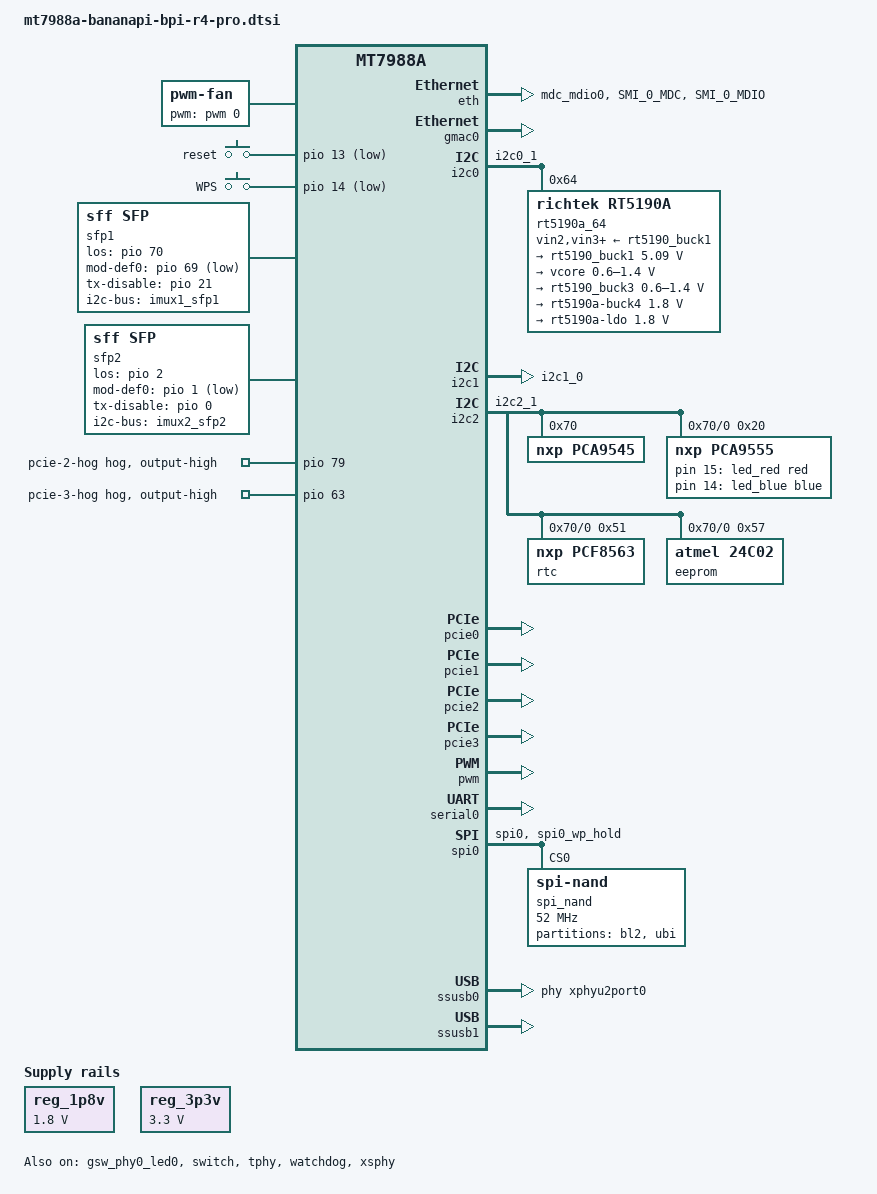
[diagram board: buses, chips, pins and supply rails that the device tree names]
// SPDX-License-Identifier: (GPL-2.0 OR MIT)
/*
 * Copyright (C) 2025 MediaTek Inc.
 * Author: Sam.Shih <sam.shih@mediatek.com>
 * Author: Frank Wunderlich <frank-w@public-files.de>
 */

/dts-v1/;

#include "mt7988a.dtsi"
#include <dt-bindings/gpio/gpio.h>
#include <dt-bindings/input/input.h>
#include <dt-bindings/leds/common.h>
#include <dt-bindings/regulator/richtek,rt5190a-regulator.h>

/ {
	aliases {
		ethernet0 = &gmac0;
		i2c0 = &i2c0;
		i2c1 = &i2c1;
		i2c2 = &i2c2;
		/* PCA9548 (0-0070) provides 4 i2c channels */
		i2c3 = &imux0;
		i2c4 = &imux1_sfp1;
		i2c5 = &imux2_sfp2;
		i2c6 = &imux3_wifi;
	};

	chosen {
		stdout-path = &serial0;
	};

	fan: pwm-fan {
		compatible = "pwm-fan";
		/* cooling level (0, 1, 2, 3) : (0% duty, 30% duty, 50% duty, 100% duty) */
		cooling-levels = <0 80 128 255>;
		pinctrl-0 = <&pwm0_pins>;
		pinctrl-names = "default";
		pwms = <&pwm 0 50000>;
		#cooling-cells = <2>;
	};

	gpio-keys {
		compatible = "gpio-keys";

		button-reset {
			label = "reset";
			gpios = <&pio 13 GPIO_ACTIVE_LOW>;
			linux,code = <KEY_RESTART>;
		};

		button-wps {
			label = "WPS";
			gpios = <&pio 14 GPIO_ACTIVE_LOW>;
			linux,code = <KEY_WPS_BUTTON>;
		};
	};

	gpio-leds {
		compatible = "gpio-leds";

		led_red: sys-led-red {
			color = <LED_COLOR_ID_RED>;
			gpios = <&pca9555 15 GPIO_ACTIVE_HIGH>;
			default-state = "on";
		};

		led_blue: sys-led-blue {
			color = <LED_COLOR_ID_BLUE>;
			gpios = <&pca9555 14 GPIO_ACTIVE_HIGH>;
			default-state = "on";
		};
	};

	reg_1p8v: regulator-dvdd1v8 {
		compatible = "regulator-fixed";
		regulator-name = "DVDD1V8_SOC";
		regulator-min-microvolt = <1800000>;
		regulator-max-microvolt = <1800000>;
		regulator-boot-on;
		regulator-always-on;
	};

	reg_3p3v: regulator-3v3vd {
		compatible = "regulator-fixed";
		regulator-name = "3V3VD";
		regulator-min-microvolt = <3300000>;
		regulator-max-microvolt = <3300000>;
		regulator-boot-on;
		regulator-always-on;
	};

	/* SFP1 cage (LAN) */
	sfp1: sfp1 {
		compatible = "sff,sfp";
		i2c-bus = <&imux1_sfp1>;
		los-gpios = <&pio 70 GPIO_ACTIVE_HIGH>;
		mod-def0-gpios = <&pio 69 GPIO_ACTIVE_LOW>;
		tx-disable-gpios = <&pio 21 GPIO_ACTIVE_HIGH>;
		maximum-power-milliwatt = <3000>;
	};

	/* SFP2 cage (WAN) */
	sfp2: sfp2 {
		compatible = "sff,sfp";
		i2c-bus = <&imux2_sfp2>;
		los-gpios = <&pio 2 GPIO_ACTIVE_HIGH>;
		mod-def0-gpios = <&pio 1 GPIO_ACTIVE_LOW>;
		tx-disable-gpios = <&pio 0 GPIO_ACTIVE_HIGH>;
		maximum-power-milliwatt = <3000>;
	};
};

&cci {
	proc-supply = <&rt5190_buck3>;
};

&cpu0 {
	proc-supply = <&rt5190_buck3>;
};

&cpu1 {
	proc-supply = <&rt5190_buck3>;
};

&cpu2 {
	proc-supply = <&rt5190_buck3>;
};

&cpu3 {
	proc-supply = <&rt5190_buck3>;
};

&cpu_thermal {
	trips {
		cpu_trip_hot: hot {
			temperature = <120000>;
			hysteresis = <2000>;
			type = "hot";
		};

		cpu_trip_active_high: active-high {
			temperature = <115000>;
			hysteresis = <2000>;
			type = "active";
		};

		cpu_trip_active_med: active-med {
			temperature = <85000>;
			hysteresis = <2000>;
			type = "active";
		};

		cpu_trip_active_low: active-low {
			temperature = <40000>;
			hysteresis = <2000>;
			type = "active";
		};
	};

	cooling-maps {
		map-cpu-active-high {
			/* active: set fan to cooling level 2 */
			cooling-device = <&fan 3 3>;
			trip = <&cpu_trip_active_high>;
		};

		map-cpu-active-med {
			/* active: set fan to cooling level 1 */
			cooling-device = <&fan 2 2>;
			trip = <&cpu_trip_active_med>;
		};

		map-cpu-active-low {
			/* active: set fan to cooling level 0 */
			cooling-device = <&fan 1 1>;
			trip = <&cpu_trip_active_low>;
		};
	};
};

&eth {
	pinctrl-0 = <&mdio0_pins>;
	pinctrl-names = "default";
	status = "okay";
};

&fan {
	pinctrl-0 = <&pwm0_pins>;
	pinctrl-names = "default";
	pwms = <&pwm 0 50000>;
	status = "okay";
};

&gmac0 {
	status = "okay";
};

&gsw_phy0 {
	pinctrl-0 = <&gbe0_led0_pins>;
	pinctrl-names = "gbe-led";
};

&gsw_phy0_led0 {
	color = <LED_COLOR_ID_YELLOW>;
	status = "okay";
};

&gsw_port0 {
	label = "mgmt";
};

/* R4Pro has only port 0 connected, so disable the others */
&gsw_phy1 {
	status = "disabled";
};

&gsw_port1 {
	status = "disabled";
};

&gsw_phy2 {
	status = "disabled";
};

&gsw_port2 {
	status = "disabled";
};

&gsw_phy3 {
	status = "disabled";
};

&gsw_port3 {
	status = "disabled";
};

&i2c0 {
	pinctrl-0 = <&i2c0_pins>;
	pinctrl-names = "default";
	status = "okay";

	rt5190a_64: rt5190a@64 {
		compatible = "richtek,rt5190a";
		reg = <0x64>;
		vin2-supply = <&rt5190_buck1>;
		vin3-supply = <&rt5190_buck1>;
		vin4-supply = <&rt5190_buck1>;

		regulators {
			rt5190_buck1: buck1 {
				regulator-name = "rt5190a-buck1";
				regulator-min-microvolt = <5090000>;
				regulator-max-microvolt = <5090000>;
				regulator-allowed-modes =
				<RT5190A_OPMODE_AUTO RT5190A_OPMODE_FPWM>;
				regulator-boot-on;
				regulator-always-on;
			};

			buck2 {
				regulator-name = "vcore";
				regulator-min-microvolt = <600000>;
				regulator-max-microvolt = <1400000>;
				regulator-boot-on;
				regulator-always-on;
			};

			rt5190_buck3: buck3 {
				regulator-name = "vproc";
				regulator-min-microvolt = <600000>;
				regulator-max-microvolt = <1400000>;
				regulator-boot-on;
				regulator-always-on;
			};

			buck4 {
				regulator-name = "rt5190a-buck4";
				regulator-min-microvolt = <1800000>;
				regulator-max-microvolt = <1800000>;
				regulator-allowed-modes =
				<RT5190A_OPMODE_AUTO RT5190A_OPMODE_FPWM>;
				regulator-boot-on;
				regulator-always-on;
			};

			ldo {
				regulator-name = "rt5190a-ldo";
				regulator-min-microvolt = <1800000>;
				regulator-max-microvolt = <1800000>;
				regulator-boot-on;
				regulator-always-on;
			};
		};
	};
};

&i2c1 {
	pinctrl-0 = <&i2c1_pins>;
	pinctrl-names = "default";
	status = "okay";
};

&i2c2 {
	pinctrl-0 = <&i2c2_1_pins>;
	pinctrl-names = "default";
	status = "okay";

	pca9545: i2c-mux@70 {
		compatible = "nxp,pca9545";
		reg = <0x70>;
		#address-cells = <1>;
		#size-cells = <0>;

		imux0: i2c@0 {
			reg = <0>;
			#address-cells = <1>;
			#size-cells = <0>;

			pca9555: i2c-gpio-expander@20 {
				compatible = "nxp,pca9555";
				reg = <0x20>;
				gpio-controller;
				#gpio-cells = <2>;
			};

			rtc@51 {
				compatible = "nxp,pcf8563";
				reg = <0x51>;
			};

			eeprom@57 {
				compatible = "atmel,24c02";
				reg = <0x57>;
				address-width = <8>;
				pagesize = <8>;
				size = <256>;
			};
		};

		imux1_sfp1: i2c@1 {
			reg = <1>;
			#address-cells = <1>;
			#size-cells = <0>;
		};

		imux2_sfp2: i2c@2 {
			reg = <2>;
			#address-cells = <1>;
			#size-cells = <0>;
		};

		imux3_wifi: i2c@3 {
			reg = <3>;
			#address-cells = <1>;
			#size-cells = <0>;
		};
	};
};

/* mPCIe SIM2 (11300000) */
&pcie0 {
	status = "okay";
};

/* mPCIe (11310000 near leds) SIM3 */
&pcie1 {
	status = "okay";
};

/* M.2 (11280000) 1L0 key-m SSD1 CN13 / key-b SIM1 CN15 */
&pcie2 {
	status = "okay";
};

/* M.2 (11290000) 1L1 key-m SSD2 CN14 / key-b SIM2 CN18 */
&pcie3 {
	status = "okay";
};

&pio {
	gbe0_led0_pins: gbe0-led0-pins {
		mux {
			function = "led";
			groups = "gbe0_led0";
		};
	};

	i2c0_pins: i2c0-g0-pins {
		mux {
			function = "i2c";
			groups = "i2c0_1";
		};
	};

	i2c1_pins: i2c1-g0-pins {
		mux {
			function = "i2c";
			groups = "i2c1_0";
		};
	};

	i2c2_1_pins: i2c2-g1-pins {
		mux {
			function = "i2c";
			groups = "i2c2_1";
		};
	};

	mdio0_pins: mdio0-pins {
		mux {
			function = "eth";
			groups = "mdc_mdio0";
		};

		conf {
			pins = "SMI_0_MDC", "SMI_0_MDIO";
			drive-strength = <8>;
		};
	};

	mmc0_pins_emmc_51: mmc0-emmc-51-pins {
		mux {
			function = "flash";
			groups = "emmc_51";
		};
	};

	mmc0_pins_sdcard: mmc0-sdcard-pins {
		mux {
			function = "flash";
			groups = "sdcard";
		};
	};

	/* 1L0 0=key-b (CN15), 1=key-m (CN13) */
	pcie-2-hog {
		gpio-hog;
		gpios = <79 GPIO_ACTIVE_HIGH>;
		output-high;
	};

	/* 1L1 0=key-b (CN18), 1=key-m (CN14) */
	pcie-3-hog {
		gpio-hog;
		gpios = <63 GPIO_ACTIVE_HIGH>;
		output-high;
	};

	pwm0_pins: pwm0-pins {
		mux {
			groups = "pwm0";
			function = "pwm";
		};
	};

	spi0_flash_pins: spi0-flash-pins {
		mux {
			function = "spi";
			groups = "spi0", "spi0_wp_hold";
		};
	};
};

&pwm {
	status = "okay";
};

&serial0 {
	status = "okay";
};

&spi0 {
	pinctrl-0 = <&spi0_flash_pins>;
	pinctrl-names = "default";
	status = "okay";

	spi_nand: nand@0 {
		compatible = "spi-nand";
		reg = <0>;
		spi-max-frequency = <52000000>;
		spi-rx-bus-width = <4>;
		spi-tx-bus-width = <4>;
	};
};

&spi_nand {
	partitions {
		compatible = "fixed-partitions";
		#address-cells = <1>;
		#size-cells = <1>;

		partition@0 {
			reg = <0x0 0x200000>;
			label = "bl2";
		};

		partition@200000 {
			compatible = "linux,ubi";
			reg = <0x200000 0xfe00000>;
			label = "ubi";
		};
	};
};

/* back USB */
&ssusb0 {
	/* Use U2P only instead of both U3P/U2P due to U3P serdes shared with pcie2 */
	phys = <&xphyu2port0 PHY_TYPE_USB2>;
	mediatek,u3p-dis-msk = <1>;
	status = "okay";
};

/* front USB */
&ssusb1 {
	status = "okay";
};

&switch {
	dsa,member = <1 0>;
	status = "okay";
};

&tphy {
	status = "okay";
};

&watchdog {
	status = "okay";
};

&xsphy {
	status = "okay";
};
